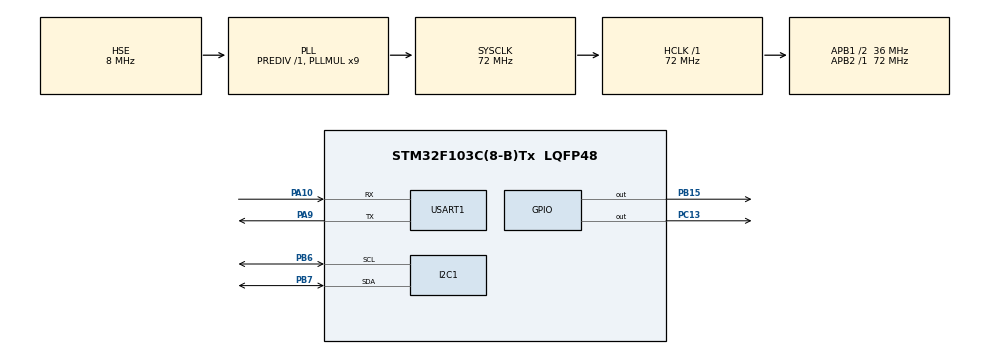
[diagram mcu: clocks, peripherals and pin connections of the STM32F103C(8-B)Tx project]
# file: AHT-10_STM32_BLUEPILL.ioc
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Mcu.Family=STM32F1
Mcu.Name=STM32F103C(8-B)Tx
Mcu.Package=LQFP48
NVIC.PriorityGroup=NVIC_PRIORITYGROUP_4
PA10.Mode=Asynchronous
PA10.Signal=USART1_RX
PA13.Mode=Serial_Wire
PA13.Signal=SYS_JTMS-SWDIO
PA14.Mode=Serial_Wire
PA14.Signal=SYS_JTCK-SWCLK
PA9.Mode=Asynchronous
PA9.Signal=USART1_TX
PB15.Signal=GPIO_Output
PB6.Mode=I2C
PB6.Signal=I2C1_SCL
PB7.Mode=I2C
PB7.Signal=I2C1_SDA
PC13-TAMPER-RTC.Signal=GPIO_Output
PD0-OSC_IN.Mode=HSE-External-Oscillator
PD0-OSC_IN.Signal=RCC_OSC_IN
PD1-OSC_OUT.Mode=HSE-External-Oscillator
PD1-OSC_OUT.Signal=RCC_OSC_OUT
ProjectManager.HeapSize=0x200
ProjectManager.StackSize=0x400
ProjectManager.TargetToolchain=STM32CubeIDE
RCC.AHBFreq_Value=72000000
RCC.APB1CLKDivider=RCC_HCLK_DIV2
RCC.APB1Freq_Value=36000000
RCC.APB1TimFreq_Value=72000000
RCC.APB2Freq_Value=72000000
RCC.APB2TimFreq_Value=72000000
RCC.HCLKFreq_Value=72000000
RCC.PLLMUL=RCC_PLL_MUL9
RCC.PLLSourceVirtual=RCC_PLLSOURCE_HSE
RCC.SYSCLKFreq_VALUE=72000000
RCC.SYSCLKSource=RCC_SYSCLKSOURCE_PLLCLK
RCC.USBFreq_Value=72000000
USART1.VirtualMode=VM_ASYNC
board=custom

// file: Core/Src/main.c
/* USER CODE BEGIN Header */
/**
  ******************************************************************************
  * @file           : main.c
  * @brief          : Main program body
  ******************************************************************************
  * @attention
  *
  * Copyright (c) 2025 STMicroelectronics.
  * All rights reserved.
  *
  * This software is licensed under terms that can be found in the LICENSE file
  * in the root directory of this software component.
  * If no LICENSE file comes with this software, it is provided AS-IS.
  *
  ******************************************************************************
  */
/* USER CODE END Header */
#include "main.h"

/* USER CODE BEGIN Includes */
#include "stm32f1xx_hal.h"
#include <stdio.h>
#include <string.h>
/* USER CODE END Includes */

/* USER CODE BEGIN PD */
// AHT10 I2C Address
#define AHT10_ADDRESS       0x38 << 1  // 7-bit address shifted for HAL

// AHT10 Commands
#define AHT10_INIT_CMD      0xE1
#define AHT10_MEASURE_CMD   0xAC
#define AHT10_RESET_CMD     0xBA

// AHT10 Status bits
#define AHT10_STATUS_BUSY   0x80
#define AHT10_STATUS_CAL    0x08
/* USER CODE END PD */

I2C_HandleTypeDef hi2c1;

UART_HandleTypeDef huart1;

void SystemClock_Config(void);
static void MX_GPIO_Init(void);
static void MX_I2C1_Init(void);
static void MX_USART1_UART_Init(void);
/* USER CODE BEGIN PFP */
uint8_t AHT10_Init(void);
uint8_t AHT10_Read_Status(void);
uint8_t AHT10_Trigger_Measurement(void);
uint8_t AHT10_Read_Data(float *temperature, float *humidity);
void AHT10_Reset(void);
/* USER CODE END PFP */

int main(void)
{

  /* MCU Configuration--------------------------------------------------------*/

  /* Reset of all peripherals, Initializes the Flash interface and the Systick. */
  HAL_Init();

  /* Configure the system clock */
  SystemClock_Config();

  /* Initialize all configured peripherals */
  MX_GPIO_Init();
  MX_I2C1_Init();
  MX_USART1_UART_Init();
  /* USER CODE BEGIN 2 */
  char msg[100];
  float temperature, humidity;

  sprintf(msg, "AHT10 Sensor Test Starting...\r\n");
  HAL_UART_Transmit(&huart1, (uint8_t*)msg, strlen(msg), HAL_MAX_DELAY);

  // Initialize AHT10
  if (AHT10_Init() != HAL_OK) {
	  sprintf(msg, "AHT10 Initialization Failed!\r\n");
	  HAL_UART_Transmit(&huart1, (uint8_t*)msg, strlen(msg), HAL_MAX_DELAY);
  }
  /* USER CODE END 2 */

  /* Infinite loop */
  /* USER CODE BEGIN WHILE */
  while (1)
  {
	  // Trigger measurement
	      if (AHT10_Trigger_Measurement() == HAL_OK) {
	          HAL_Delay(80); // Wait for measurement to complete

	          // Read temperature and humidity
	          if (AHT10_Read_Data(&temperature, &humidity) == HAL_OK) {
	              // Convert float to integers for display (avoid float formatting)
	              int temp_int = (int)temperature;
	              int temp_dec = (int)((temperature - temp_int) * 100);
	              int hum_int = (int)humidity;
	              int hum_dec = (int)((humidity - hum_int) * 100);

	              sprintf(msg, "Temperature: %d.%02dC, Humidity: %d.%02d%%\r\n",
	                     temp_int, temp_dec, hum_int, hum_dec);
	              HAL_UART_Transmit(&huart1, (uint8_t*)msg, strlen(msg), HAL_MAX_DELAY);
	          } else {
	              sprintf(msg, "Failed to read sensor data!\r\n");
	              HAL_UART_Transmit(&huart1, (uint8_t*)msg, strlen(msg), HAL_MAX_DELAY);
	          }
	      }
	  HAL_Delay(2000); // Read every 2 seconds
    /* USER CODE END WHILE */

  }
}

void SystemClock_Config(void)
{
  RCC_OscInitTypeDef RCC_OscInitStruct = {0};
  RCC_ClkInitTypeDef RCC_ClkInitStruct = {0};

  /** Initializes the RCC Oscillators according to the specified parameters
  * in the RCC_OscInitTypeDef structure.
  */
  RCC_OscInitStruct.OscillatorType = RCC_OSCILLATORTYPE_HSE;
  RCC_OscInitStruct.HSEState = RCC_HSE_ON;
  RCC_OscInitStruct.HSEPredivValue = RCC_HSE_PREDIV_DIV1;
  RCC_OscInitStruct.HSIState = RCC_HSI_ON;
  RCC_OscInitStruct.PLL.PLLState = RCC_PLL_ON;
  RCC_OscInitStruct.PLL.PLLSource = RCC_PLLSOURCE_HSE;
  RCC_OscInitStruct.PLL.PLLMUL = RCC_PLL_MUL9;
  if (HAL_RCC_OscConfig(&RCC_OscInitStruct) != HAL_OK)
  {
    Error_Handler();
  }

  /** Initializes the CPU, AHB and APB buses clocks
  */
  RCC_ClkInitStruct.ClockType = RCC_CLOCKTYPE_HCLK|RCC_CLOCKTYPE_SYSCLK
                              |RCC_CLOCKTYPE_PCLK1|RCC_CLOCKTYPE_PCLK2;
  RCC_ClkInitStruct.SYSCLKSource = RCC_SYSCLKSOURCE_PLLCLK;
  RCC_ClkInitStruct.AHBCLKDivider = RCC_SYSCLK_DIV1;
  RCC_ClkInitStruct.APB1CLKDivider = RCC_HCLK_DIV2;
  RCC_ClkInitStruct.APB2CLKDivider = RCC_HCLK_DIV1;

  if (HAL_RCC_ClockConfig(&RCC_ClkInitStruct, FLASH_LATENCY_2) != HAL_OK)
  {
    Error_Handler();
  }
}

static void MX_I2C1_Init(void)
{

  hi2c1.Instance = I2C1;
  hi2c1.Init.ClockSpeed = 100000;
  hi2c1.Init.DutyCycle = I2C_DUTYCYCLE_2;
  hi2c1.Init.OwnAddress1 = 0;
  hi2c1.Init.AddressingMode = I2C_ADDRESSINGMODE_7BIT;
  hi2c1.Init.DualAddressMode = I2C_DUALADDRESS_DISABLE;
  hi2c1.Init.OwnAddress2 = 0;
  hi2c1.Init.GeneralCallMode = I2C_GENERALCALL_DISABLE;
  hi2c1.Init.NoStretchMode = I2C_NOSTRETCH_DISABLE;
  if (HAL_I2C_Init(&hi2c1) != HAL_OK)
  {
    Error_Handler();
  }

}

static void MX_USART1_UART_Init(void)
{

  huart1.Instance = USART1;
  huart1.Init.BaudRate = 115200;
  huart1.Init.WordLength = UART_WORDLENGTH_8B;
  huart1.Init.StopBits = UART_STOPBITS_1;
  huart1.Init.Parity = UART_PARITY_NONE;
  huart1.Init.Mode = UART_MODE_TX_RX;
  huart1.Init.HwFlowCtl = UART_HWCONTROL_NONE;
  huart1.Init.OverSampling = UART_OVERSAMPLING_16;
  if (HAL_UART_Init(&huart1) != HAL_OK)
  {
    Error_Handler();
  }

}

static void MX_GPIO_Init(void)
{
  GPIO_InitTypeDef GPIO_InitStruct = {0};

  /* GPIO Ports Clock Enable */
  __HAL_RCC_GPIOC_CLK_ENABLE();
  __HAL_RCC_GPIOD_CLK_ENABLE();
  __HAL_RCC_GPIOB_CLK_ENABLE();
  __HAL_RCC_GPIOA_CLK_ENABLE();

  /*Configure GPIO pin Output Level */
  HAL_GPIO_WritePin(GPIOC, GPIO_PIN_13, GPIO_PIN_RESET);

  /*Configure GPIO pin Output Level */
  HAL_GPIO_WritePin(GPIOB, GPIO_PIN_15, GPIO_PIN_RESET);

  /*Configure GPIO pin : PC13 */
  GPIO_InitStruct.Pin = GPIO_PIN_13;
  GPIO_InitStruct.Mode = GPIO_MODE_OUTPUT_PP;
  GPIO_InitStruct.Pull = GPIO_NOPULL;
  GPIO_InitStruct.Speed = GPIO_SPEED_FREQ_LOW;
  HAL_GPIO_Init(GPIOC, &GPIO_InitStruct);

  /*Configure GPIO pin : PB15 */
  GPIO_InitStruct.Pin = GPIO_PIN_15;
  GPIO_InitStruct.Mode = GPIO_MODE_OUTPUT_PP;
  GPIO_InitStruct.Pull = GPIO_NOPULL;
  GPIO_InitStruct.Speed = GPIO_SPEED_FREQ_LOW;
  HAL_GPIO_Init(GPIOB, &GPIO_InitStruct);

}

/* USER CODE BEGIN 4 */
// AHT10 Initialization
uint8_t AHT10_Init(void)
{
    uint8_t init_cmd[3] = {AHT10_INIT_CMD, 0x08, 0x00};

    // Wait after power-on
    HAL_Delay(40);

    // Send initialization command
    if (HAL_I2C_Master_Transmit(&hi2c1, AHT10_ADDRESS, init_cmd, 3, 1000) != HAL_OK) {
        return HAL_ERROR;
    }

    HAL_Delay(10);

    // Check if calibration bit is set
    uint8_t status = AHT10_Read_Status();
    if ((status & AHT10_STATUS_CAL) == 0) {
        return HAL_ERROR; // Calibration failed
    }

    return HAL_OK;
}

// Read AHT10 status register
uint8_t AHT10_Read_Status(void)
{
    uint8_t status = 0;
    HAL_I2C_Master_Receive(&hi2c1, AHT10_ADDRESS, &status, 1, 1000);
    return status;
}

// Trigger measurement
uint8_t AHT10_Trigger_Measurement(void)
{
    uint8_t measure_cmd[3] = {AHT10_MEASURE_CMD, 0x33, 0x00};

    return HAL_I2C_Master_Transmit(&hi2c1, AHT10_ADDRESS, measure_cmd, 3, 1000);
}

// Read temperature and humidity data
uint8_t AHT10_Read_Data(float *temperature, float *humidity)
{
    uint8_t data[6];
    uint32_t raw_humidity, raw_temperature;

    // Check if sensor is busy
    if (AHT10_Read_Status() & AHT10_STATUS_BUSY) {
        return HAL_ERROR; // Sensor still measuring
    }

    // Read 6 bytes of data
    if (HAL_I2C_Master_Receive(&hi2c1, AHT10_ADDRESS, data, 6, 1000) != HAL_OK) {
        return HAL_ERROR;
    }

    // Extract raw humidity (20 bits)
    raw_humidity = ((uint32_t)data[1] << 12) | ((uint32_t)data[2] << 4) | (data[3] >> 4);

    // Extract raw temperature (20 bits)
    raw_temperature = (((uint32_t)data[3] & 0x0F) << 16) | ((uint32_t)data[4] << 8) | data[5];

    // Convert to actual values
    *humidity = (float)raw_humidity * 100.0f / 1048576.0f; // 2^20 = 1048576
    *temperature = (float)raw_temperature * 200.0f / 1048576.0f - 50.0f;

    return HAL_OK;
}

// Reset AHT10
void AHT10_Reset(void)
{
    uint8_t reset_cmd = AHT10_RESET_CMD;
    HAL_I2C_Master_Transmit(&hi2c1, AHT10_ADDRESS, &reset_cmd, 1, 1000);
    HAL_Delay(20);
}
/* USER CODE END 4 */

void Error_Handler(void)
{
  __disable_irq();
  while (1)
  {
  }
}
